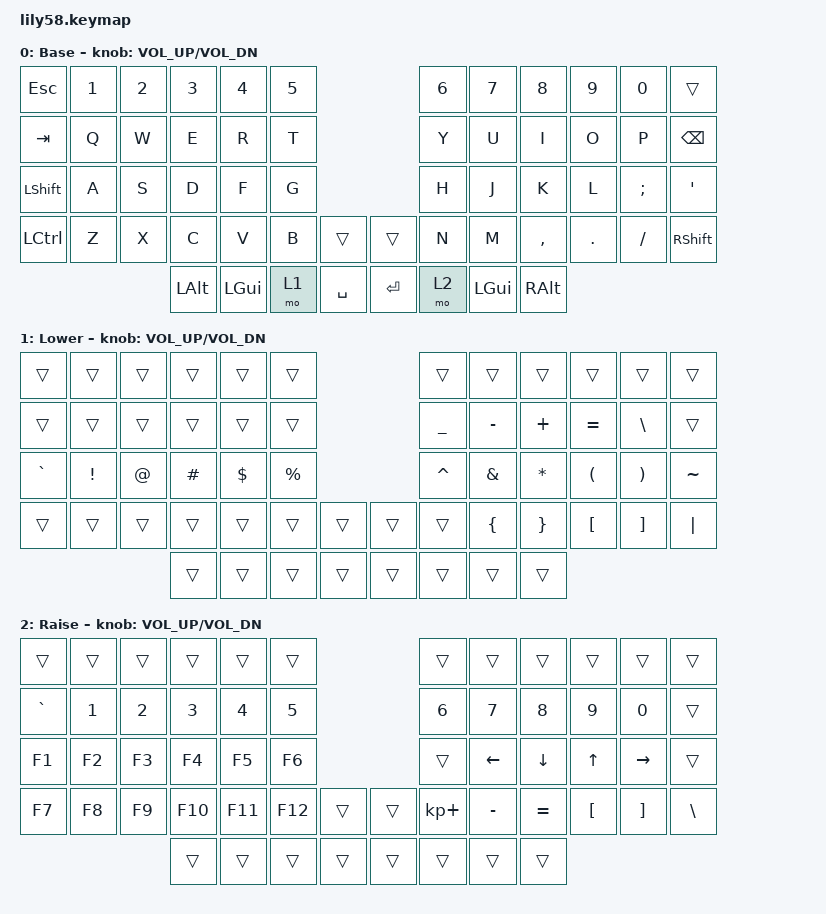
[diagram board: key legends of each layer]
/*
 * Copyright (c) 2020 The ZMK Contributors
 *
 * SPDX-License-Identifier: MIT
 */

#include <behaviors.dtsi>
#include <dt-bindings/zmk/keys.h>

/ {
    keymap {
        compatible = "zmk,keymap";

        default_layer {
            // ------------------------------------------------------------------------------------------------------------
            // |  ESC  |  1  |  2  |  3   |  4   |  5   |                   |  6   |  7    |  8    |  9   |   0   |   `   |
            // |  TAB  |  Q  |  W  |  E   |  R   |  T   |                   |  Y   |  U    |  I    |  O   |   P   |   -   |
            // |  CTRL |  A  |  S  |  D   |  F   |  G   |                   |  H   |  J    |  K    |  L   |   ;   |   '   |
            // | SHIFT |  Z  |  X  |  C   |  V   |  B   |   "["  |  |  "]"  |  N   |  M    |  ,    |  .   |   /   | SHIFT |
            //                     | ALT  | GUI  | LOWER|  SPACE |  | ENTER | RAISE| BSPC  | GUI   |

            display-name = "Base";
            bindings = <
&kp ESC           &kp N1  &kp N2  &kp N3    &kp N4    &kp N5                        &kp N6  &kp N7        &kp N8         &kp N9   &kp N0    &trans
&kp TAB           &kp Q   &kp W   &kp E     &kp R     &kp T                         &kp Y   &kp U         &kp I          &kp O    &kp P     &kp BACKSPACE
&kp LEFT_SHIFT    &kp A   &kp S   &kp D     &kp F     &kp G                         &kp H   &kp J         &kp K          &kp L    &kp SEMI  &kp SQT
&kp LEFT_CONTROL  &kp Z   &kp X   &kp C     &kp V     &kp B   &trans       &trans   &kp N   &kp M         &kp COMMA      &kp DOT  &kp FSLH  &kp RSHFT
                                  &kp LALT  &kp LGUI  &mo 1   &kp SPACE    &kp RET  &mo 2   &kp LEFT_GUI  &kp RIGHT_ALT
            >;

            sensor-bindings = <&inc_dec_kp C_VOL_UP C_VOL_DN>;
        };

        lower_layer {
            // ------------------------------------------------------------------------------------------------------------
            // | BTCLR | BT1 | BT2 |  BT3 |  BT4 |  BT5 |                   |      |       |       |      |       |       |
            // |  F1   |  F2 |  F3 |  F4  |  F5  |  F6  |                   |  F7  |  F8   |  F9   |  F10 |  F11  |  F12  |
            // |   `   |  !  |  @  |  #   |  $   |  %   |                   |  ^   |  &    |  *    |  (   |   )   |   ~   |
            // |       |     |     |      |      |      |        |  |       |      |  _    |  +    |  {   |   }   |  "|"  |
            //                     |      |      |      |        |  |       |      |       |       |

            display-name = "Lower";
            bindings = <
&trans     &trans    &trans  &trans    &trans      &trans                       &trans     &trans          &trans           &trans            &trans             &trans
&trans     &trans    &trans  &trans    &trans      &trans                       &kp UNDER  &kp MINUS       &kp PLUS         &kp EQUAL         &kp BACKSLASH      &trans
&kp GRAVE  &kp EXCL  &kp AT  &kp HASH  &kp DOLLAR  &kp PRCNT                    &kp CARET  &kp AMPS        &kp ASTERISK     &kp LPAR          &kp RPAR           &kp TILDE
&trans     &trans    &trans  &trans    &trans      &trans     &trans    &trans  &trans     &kp LEFT_BRACE  &kp RIGHT_BRACE  &kp LEFT_BRACKET  &kp RIGHT_BRACKET  &kp PIPE
                             &trans    &trans      &trans     &trans    &trans  &trans     &trans          &trans
            >;

            sensor-bindings = <&inc_dec_kp C_VOL_UP C_VOL_DN>;
        };

        raise_layer {
            // ------------------------------------------------------------------------------------------------------------
            // |       |     |     |      |      |      |                   |      |       |       |      |       |       |
            // |   `   |  1  |  2  |  3   |  4   |  5   |                   |  6   |   7   |   8   |  9   |   0   |       |
            // |   F1  |  F2 |  F3 |  F4  |  F5  |  F6  |                   |      |   <-  |   v   |  ^   |  ->   |       |
            // |   F7  |  F8 |  F9 |  F10 |  F11 |  F12 |        |  |       |  +   |   -   |   =   |  [   |   ]   |   \   |
            //                     |      |      |      |        |  |       |      |       |       |

            display-name = "Raise";
            bindings = <
&trans     &trans  &trans  &trans   &trans   &trans                     &trans       &trans     &trans     &trans    &trans     &trans
&kp GRAVE  &kp N1  &kp N2  &kp N3   &kp N4   &kp N5                     &kp N6       &kp N7     &kp N8     &kp N9    &kp N0     &trans
&kp F1     &kp F2  &kp F3  &kp F4   &kp F5   &kp F6                     &trans       &kp LEFT   &kp DOWN   &kp UP    &kp RIGHT  &trans
&kp F7     &kp F8  &kp F9  &kp F10  &kp F11  &kp F12  &trans    &trans  &kp KP_PLUS  &kp MINUS  &kp EQUAL  &kp LBKT  &kp RBKT   &kp BSLH
                           &trans   &trans   &trans   &trans    &trans  &trans       &trans     &trans
            >;

            sensor-bindings = <&inc_dec_kp C_VOL_UP C_VOL_DN>;
        };

        extra_1 { status = "reserved"; };

        extra_2 { status = "reserved"; };

        extra_3 { status = "reserved"; };
    };
};
